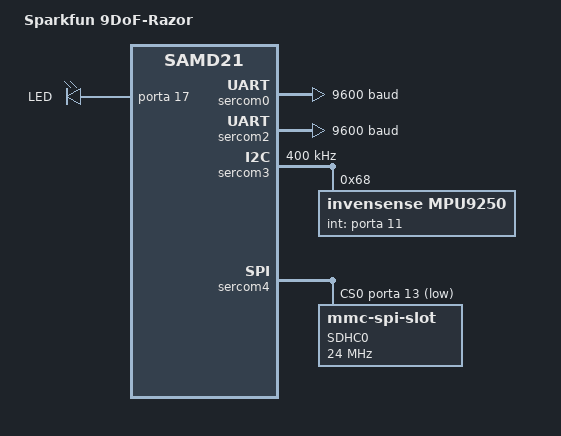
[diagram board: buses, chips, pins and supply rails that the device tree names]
/*
 * Copyright (c) 2020 Google LLC.
 *
 * SPDX-License-Identifier: Apache-2.0
 */

/dts-v1/;
#include <atmel/samd21.dtsi>

/ {
	model = "Sparkfun 9DoF-Razor";
	compatible = "Sparkfun,9DOF-RAZOR", "atmel,samd21g18a", "atmel,samd21";

	chosen {
		zephyr,console = &sercom0;
		zephyr,shell-uart = &sercom0;
		zephyr,sram = &sram0;
		zephyr,flash = &flash0;
		zephyr,code-partition = &code_partition;
	};

	leds {
		compatible = "gpio-leds";
		led0: led_0 {
			gpios = <&porta 17 0>;
			label = "LED";
		};
	};

	aliases {
		led0 = &led0;
		i2c-0 = &sercom3;
		spi-0 = &sercom4;
	};
};

&cpu0 {
	clock-frequency = <48000000>;
};

&sercom0 {
	status = "okay";
	compatible = "atmel,sam0-uart";
	current-speed = <9600>;
	rxpo = <3>;
	txpo = <2>;
};

&sercom2 {
	status = "okay";
	compatible = "atmel,sam0-uart";
	current-speed = <9600>;
	rxpo = <1>;
	txpo = <0>;
};

&sercom3 {
	status = "okay";
	compatible = "atmel,sam0-i2c";
	clock-frequency = <I2C_BITRATE_FAST>;
	#address-cells = <1>;
	#size-cells = <0>;

	mpu9250@68 {
		compatible = "invensense,mpu9250";
		reg = <0x68>;
		status = "okay";
		label = "MPU9250";
		int-gpios = <&porta 11 GPIO_ACTIVE_HIGH>;
		#address-cells = <1>;
        #size-cells = <0>;

		ak8963@c {
			compatible = "asahi-kasei,ak8963";
            reg = <0xc>;
            label = "AK8963";
        };
	};
};

/*
	SDCARD on Sercom 4
*/

&sercom4 {
	status = "okay";
	compatible = "atmel,sam0-spi";
	dipo = <0>;
	dopo = <2>;
	#address-cells = <1>;
	#size-cells = <0>;

	cs-gpios = <&porta 13 GPIO_ACTIVE_LOW>;

	sdhc0: sdhc@0 {
                compatible = "zephyr,mmc-spi-slot";
                reg = <0>;
                status = "okay";
                label = "SDHC0";
                spi-max-frequency = <24000000>;
        };
};

&flash0 {
	partitions {
		compatible = "fixed-partitions";
		#address-cells = <1>;
		#size-cells = <1>;

		boot_partition: partition@0 {
			label = "uf2";
			reg = <0x00000000 0x2000>;
			read-only;
		};

		code_partition: partition@2000 {
			label = "code";
			reg = <0x2000 0x3A000>;
			read-only;
		};

		/*
		 * The final 16 KiB is reserved for the application.
		 * Storage partition will be used by FCB/LittleFS/NVS
		 * if enabled.
		 */
		storage_partition: partition@3c000 {
			label = "storage";
			reg = <0x0003c000 0x00004000>;
		};
	};
};
